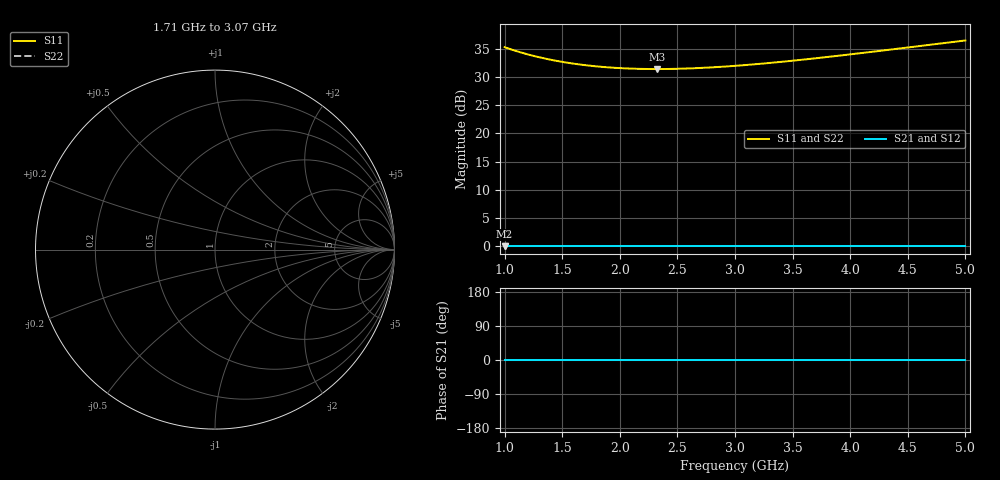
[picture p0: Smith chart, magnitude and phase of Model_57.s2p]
# GHZ S RI R 50
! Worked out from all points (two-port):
!   401 points, 1 GHz to 5 GHz, reference 50 ohm
!   highest |S21| = 0.00 dB at 1 GHz (marker M1); lowest = 0.0 dB at 1 GHz (marker M2)
!   |S21| within 3 dB of the highest: start of sweep to end of sweep
!   lowest |S11| = 31.4 dB at 2.32 GHz (marker M3)
!   |S11| at or under -10 dB: nowhere
!   |S22| runs from 31.4 to 36.5 dB; largest |S21 - S12| = 0
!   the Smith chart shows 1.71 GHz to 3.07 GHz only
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1  58.02 0  1 0  1 0  58.02 0
1.15  51.78 0  1 0  1 0  51.78 0
1.22  49.49 0  1 0  1 0  49.49 0
1.3  47.24 0  1 0  1 0  47.24 0
1.38  45.32 0  1 0  1 0  45.32 0
1.47  43.51 0  1 0  1 0  43.51 0
1.57  41.86 0  1 0  1 0  41.86 0
1.67  40.52 0  1 0  1 0  40.52 0
1.82  39.02 0  1 0  1 0  39.02 0
1.97  38 0  1 0  1 0  38 0
2.14  37.35 0  1 0  1 0  37.35 0
2.32  37.13 0  1 0  1 0  37.13 0
2.34  37.13 0  1 0  1 0  37.13 0
2.5  37.32 0  1 0  1 0  37.32 0
2.66  37.8 0  1 0  1 0  37.8 0
3  39.63 0  1 0  1 0  39.63 0
3.33  42.31 0  1 0  1 0  42.31 0
3.67  45.9 0  1 0  1 0  45.9 0
4  50.08 0  1 0  1 0  50.08 0
4.34  55.07 0  1 0  1 0  55.07 0
4.63  59.83 0  1 0  1 0  59.83 0
5  66.55 0  1 0  1 0  66.55 0
